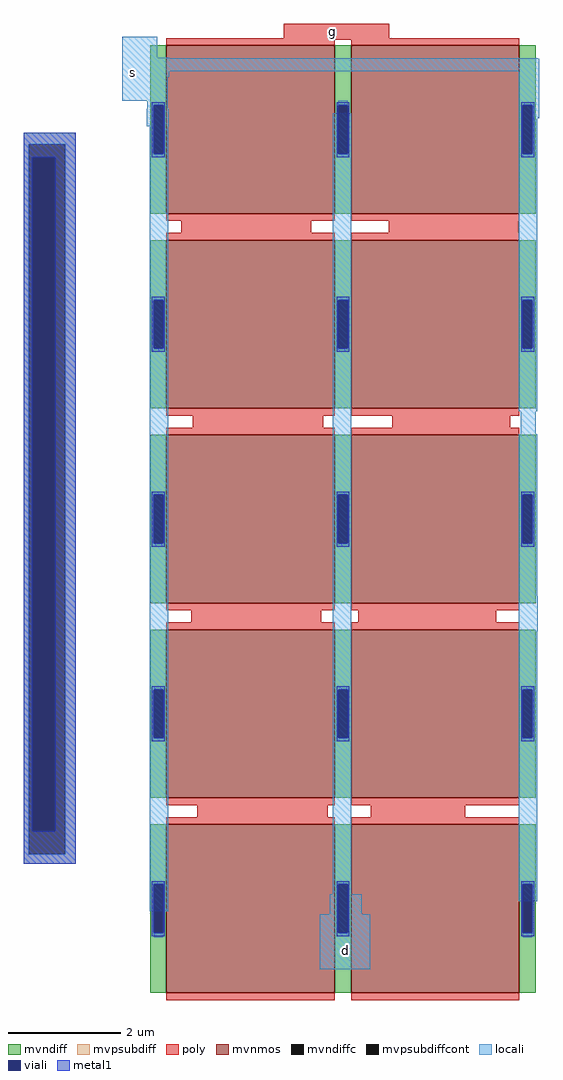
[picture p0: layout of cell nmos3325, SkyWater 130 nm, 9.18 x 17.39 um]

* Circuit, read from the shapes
.subckt nmos3325 d g s
XM1 d g s VSUBS sky130_fd_pr__nfet_g5v0d10v5 w=3 l=3 m=10
.ends

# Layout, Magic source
magic
tech sky130A
magscale 1 2
<< mvpsubdiff >>
rect -450 3050 -266 3090
rect -450 520 -432 3050
rect -302 520 -266 3050
rect -450 486 -266 520
<< mvpsubdiffcont >>
rect -432 520 -302 3050
<< poly >>
rect 476 3422 852 3478
rect 110 2718 574 2790
rect 850 2716 1314 2788
rect 152 2026 616 2098
rect 862 2022 1284 2094
rect 146 1332 610 1404
rect 742 1328 1234 1410
rect 168 640 632 712
rect 786 638 1122 706
<< locali >>
rect -100 3358 26 3432
rect -100 3356 68 3358
rect -100 3354 1382 3356
rect -100 3310 1386 3354
rect -100 3290 68 3310
rect -100 3204 62 3290
rect -10 3176 62 3204
rect -12 3114 66 3176
rect -450 3050 -266 3090
rect -450 520 -432 3050
rect -302 520 -266 3050
rect -450 486 -266 520
rect -2 316 64 3114
rect 650 376 716 3160
rect 1314 3142 1386 3310
rect 1314 2098 1380 3142
rect 1320 2016 1374 2098
rect 1314 1438 1380 2016
rect 1314 1314 1382 1438
rect 640 306 754 376
rect 1314 352 1380 1314
rect 604 110 784 306
<< viali >>
rect -420 602 -338 3004
<< metal1 >>
rect -450 3004 -266 3090
rect -450 602 -420 3004
rect -338 602 -266 3004
rect -450 486 -266 602
use sky130_fd_pr__nfet_g5v0d10v5_QWZYNS  sky130_fd_pr__nfet_g5v0d10v5_QWZYNS_0
transform 1 0 687 0 1 1714
box -687 -1714 687 1714
<< labels >>
flabel poly 650 3452 650 3452 0 FreeSans 1600 0 0 0 g
flabel locali -64 3306 -64 3306 0 FreeSans 1600 0 0 0 s
flabel locali 696 176 696 176 0 FreeSans 1600 0 0 0 d
<< end >>

# cell sky130_fd_pr__nfet_g5v0d10v5_QWZYNS: kit device sky130_fd_pr__nfet_g5v0d10v5, w 3 l 3 m 5 nf 2 diffcov 30 polycov 100 guard 0 glc 0 grc 0 gtc 0 gbc 0 tbcov 100 rlcov 100 topc 0 botc 0 poverlap 0 doverlap 1 lmin 0.50 wmin 0.42 compatible {sky130_fd_pr__nfet_01v8 sky130_fd_pr__nfet_01v8_lvt sky130_fd_bs_flash__special_sonosfet_star sky130_fd_pr__nfet_g5v0d10v5 sky130_fd_pr__nfet_05v0_nvt sky130_fd_pr__nfet_03v3_nvt} full_metal 0 viasrc 30 viadrn 30 viagate 100 viagb 0 viagr 0 viagl 0 viagt 0
